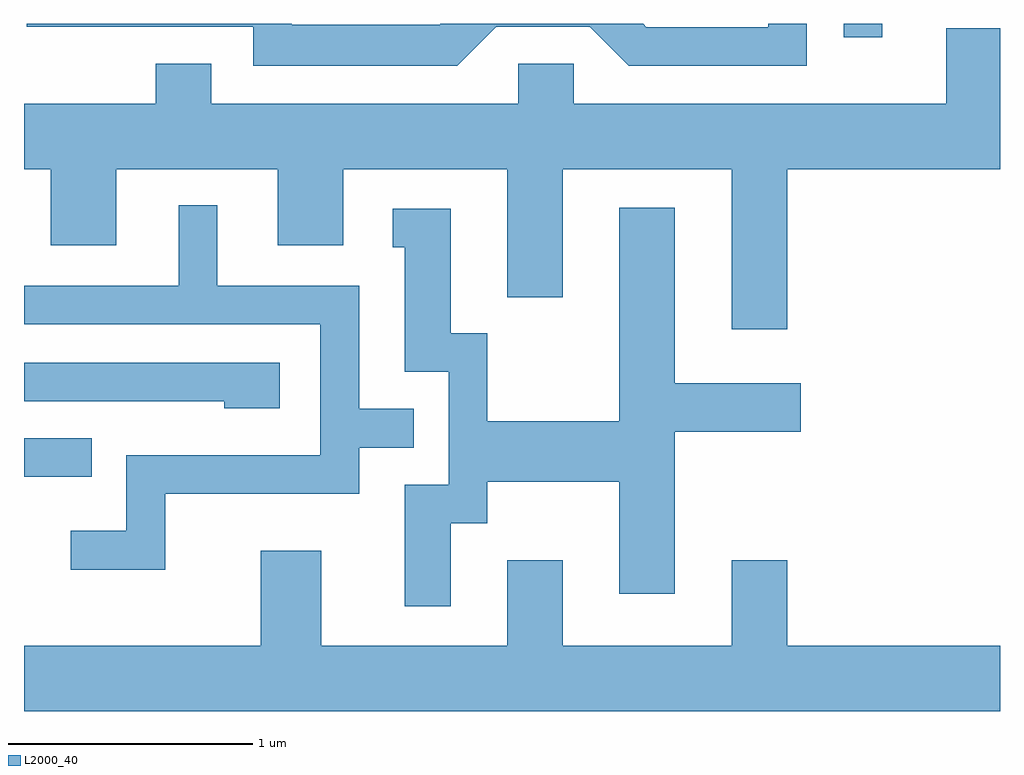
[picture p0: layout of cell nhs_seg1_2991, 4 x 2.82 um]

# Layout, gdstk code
import gdstk
lib = gdstk.Library(unit=1e-6, precision=1e-09)
def R(c, l, rs):  # rectangles x0, y0, x1, y1
    for r in rs: c.add(gdstk.rectangle(r[:2], r[2:], *l))
def P(c, l, *ps):  # polygons
    for p in ps: c.add(gdstk.Polygon(p, *l))
L2000_40 = (2000, 40)

nhs_seg1_2991 = lib.new_cell('nhs_seg1_2991')
R(nhs_seg1_2991, L2000_40, [(275.611,913.856,275.888,914.014), (278.971,915.658,279.129,915.712)])
P(nhs_seg1_2991, L2000_40, [(277.547,915.701),(277.929,915.701),(278.089,915.541),(278.819,915.541),(278.819,915.712),(278.661,915.712),(278.661,915.699),(278.162,915.699),(278.149,915.712),(277.317,915.712),(277.314,915.709),(276.709,915.709),(276.709,915.712),(275.623,915.712),(275.623,915.701),(276.551,915.701),(276.551,915.541),(277.387,915.541)],
  [(278.739,915.116),(279.611,915.116),(279.611,915.694),(279.391,915.694),(279.391,915.384),(277.864,915.384),(277.864,915.549),(277.636,915.549),(277.636,915.384),(276.379,915.384),(276.379,915.549),(276.151,915.549),(276.151,915.384),(275.611,915.384),(275.611,915.116),(275.721,915.116),(275.721,914.806),(275.989,914.806),(275.989,915.116),(276.651,915.116),(276.651,914.806),(276.919,914.806),(276.919,915.116),(277.591,915.116),(277.591,914.591),(277.819,914.591),(277.819,915.116),(278.511,915.116),(278.511,914.461),(278.739,914.461)],
  [(276.189,913.786),(276.984,913.786),(276.984,913.976),(277.208,913.976),(277.208,914.134),(276.984,914.134),(276.984,914.639),(276.404,914.639),(276.404,914.968),(276.246,914.968),(276.246,914.639),(275.611,914.639),(275.611,914.481),(276.826,914.481),(276.826,913.944),(276.031,913.944),(276.031,913.634),(275.803,913.634),(275.803,913.476),(276.189,913.476)],
  [(277.359,913.666),(277.509,913.666),(277.509,913.836),(278.051,913.836),(278.051,913.376),(278.279,913.376),(278.279,914.041),(278.794,914.041),(278.794,914.239),(278.279,914.239),(278.279,914.959),(278.051,914.959),(278.051,914.084),(277.509,914.084),(277.509,914.444),(277.359,914.444),(277.359,914.954),(277.123,914.954),(277.123,914.796),(277.171,914.796),(277.171,914.286),(277.351,914.286),(277.351,913.824),(277.171,913.824),(277.171,913.326),(277.359,913.326)],
  [(276.659,914.324),(275.611,914.324),(275.611,914.166),(276.431,914.166),(276.431,914.136),(276.659,914.136)],
  [(279.611,913.164),(278.739,913.164),(278.739,913.514),(278.511,913.514),(278.511,913.164),(277.819,913.164),(277.819,913.514),(277.591,913.514),(277.591,913.164),(276.829,913.164),(276.829,913.554),(276.581,913.554),(276.581,913.164),(275.611,913.164),(275.611,912.896),(279.611,912.896)])

lib.write_gds('nhs_seg1_2991.gds')
